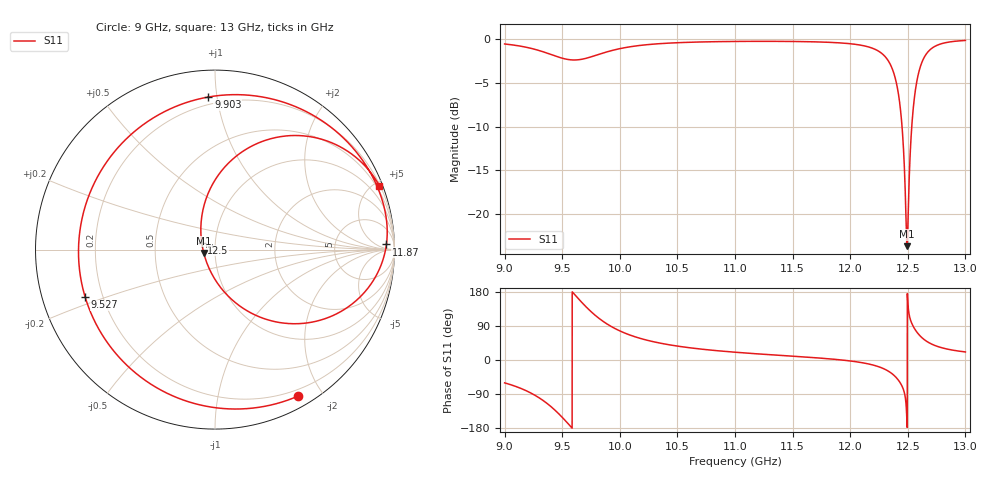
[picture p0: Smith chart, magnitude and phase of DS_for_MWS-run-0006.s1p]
! TOUCHSTONE file generated by CST DESIGN STUDIO
! Date and time: Tue Feb  4 18:17:01 2025
! Project name: C:\Work\MatlabApps\UnitCellOptimizationMatlab\CST\unitcell.cst
! Tree item: Tasks\Sweep1\SPara1\S-Parameters
! Header version: 2024
! Port assignment regex: !\s*Touchstone port\s*([0-9]+)\s*=\s*(CST MWS port|CST DES external port|CST DES block port)\s*(.+)\s* \(\"(.*)\"\)(\s*mode\s*([0-9]+))?.*
! Touchstone port assignment:
! Touchstone port 1 = CST DES external port 1 ("")
# GHz S MA R 50
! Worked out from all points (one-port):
!   4001 points, 9 GHz to 13 GHz, reference 50 ohm
!   lowest |S11| = -23.7 dB at 12.49 GHz (marker M1), VSWR 1.14, Z = 44.1 - j1.63 ohm
!   |S11| at or under -10 dB: 12.45 GHz to 12.53 GHz (84.27 MHz wide, 0.675 % of centre)
!   S11 on the Smith chart (normalised r, x): 9 GHz: 0.13, -1.71; 9.527 GHz: 0.13, -0.17; 9.903 GHz: 0.15, +0.95; 11.87 GHz: 31, +20; 12.5 GHz: 0.86, +0.07; 13 GHz: 0.26, +5.32
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9  0.9384 -60.3
9.149  0.909 -75.9
9.3  0.8606 -99.8
9.402  0.8175 -122.9
9.5  0.7782 -151.2
9.527  0.7703 -159.9
9.624  0.7606 167.3
9.732  0.7852 132.8
9.903  0.851 92.4
10  0.8823 76.8
10.218  0.9271 53.6
10.5  0.9541 36.7
11  0.9701 20.5
11.5  0.9698 10.1
11.869  0.9554 1.7
12  0.9413 -2.5
12.24  0.8585 -17.0
12.374  0.6525 -38.8
12.439  0.3815 -62.6
12.459  0.2597 -75.3
12.481  0.1147 -105.2
12.493  0.06557 -163.7
12.5  0.08346 152.5
12.548  0.4061 88.3
12.615  0.7151 61.1
12.68  0.8528 46.3
12.756  0.9234 36.0
13  0.9828 21.3
